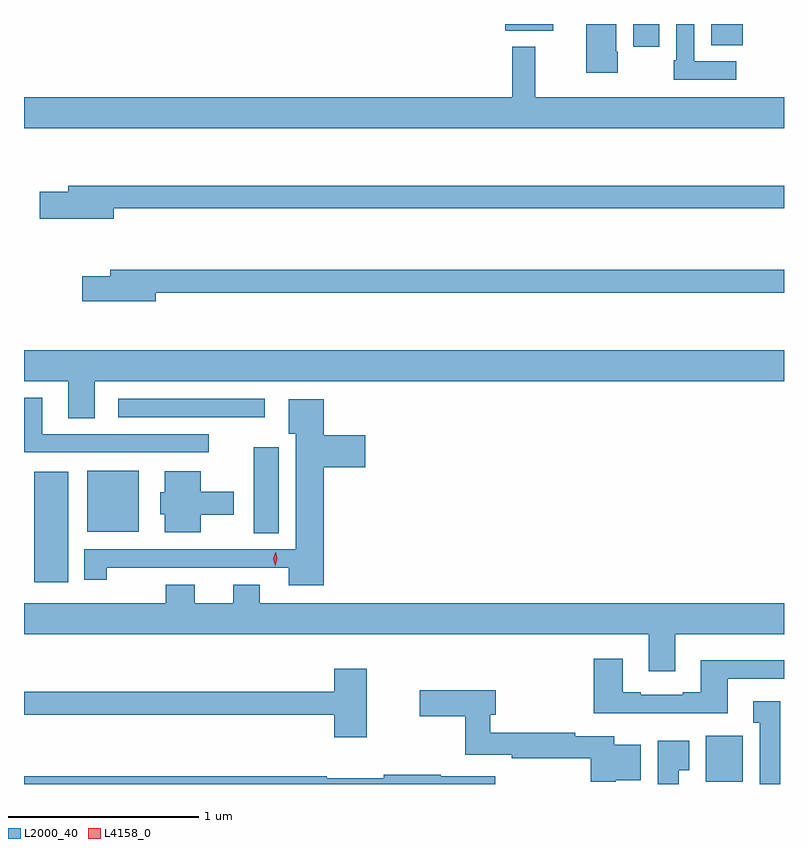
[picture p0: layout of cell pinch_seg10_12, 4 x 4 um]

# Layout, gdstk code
import gdstk
lib = gdstk.Library(unit=1e-6, precision=1e-09)
def R(c, l, rs):  # rectangles x0, y0, x1, y1
    for r in rs: c.add(gdstk.rectangle(r[:2], r[2:], *l))
def P(c, l, *ps):  # polygons
    for p in ps: c.add(gdstk.Polygon(p, *l))
L2000_40 = (2000, 40)
L4158_0 = (4158, 0)

pinch_seg10_12 = lib.new_cell('pinch_seg10_12')
R(pinch_seg10_12, L2000_40, [(1049.291,1248.926,1049.488,1249.168), (1045.757,1249.976,1045.936,1250.557), (1046.912,1250.233,1047.046,1250.686), (1046.036,1250.24,1046.308,1250.563), (1046.199,1250.844,1046.971,1250.94), (1048.91,1252.794,1049.047,1252.913), (1049.321,1252.801,1049.488,1252.913), (1048.238,1252.877,1048.489,1252.913)])
P(pinch_seg10_12, L2000_40, [(1049.452,1252.716),(1049.232,1252.716),(1049.232,1252.913),(1049.136,1252.913),(1049.136,1252.723),(1049.124,1252.723),(1049.124,1252.62),(1049.452,1252.62)],
  [(1048.83,1252.768),(1048.822,1252.768),(1048.822,1252.913),(1048.664,1252.913),(1048.664,1252.656),(1048.83,1252.656)],
  [(1049.704,1252.528),(1048.394,1252.528),(1048.394,1252.792),(1048.273,1252.792),(1048.273,1252.528),(1045.704,1252.528),(1045.704,1252.364),(1049.704,1252.364)],
  [(1046.176,1251.942),(1049.704,1251.942),(1049.704,1252.063),(1045.937,1252.063),(1045.937,1252.029),(1045.788,1252.029),(1045.788,1251.887),(1046.176,1251.887)],
  [(1046.398,1251.498),(1049.704,1251.498),(1049.704,1251.619),(1046.159,1251.619),(1046.159,1251.585),(1046.01,1251.585),(1046.01,1251.455),(1046.398,1251.455)],
  [(1046.077,1251.032),(1049.704,1251.032),(1049.704,1251.196),(1045.704,1251.196),(1045.704,1251.032),(1045.937,1251.032),(1045.937,1250.839),(1046.077,1250.839)],
  [(1046.677,1250.754),(1045.801,1250.754),(1045.801,1250.947),(1045.704,1250.947),(1045.704,1250.658),(1046.677,1250.658)],
  [(1047.281,1250.579),(1047.499,1250.579),(1047.499,1250.749),(1047.281,1250.749),(1047.281,1250.938),(1047.098,1250.938),(1047.098,1250.756),(1047.134,1250.756),(1047.134,1250.148),(1046.021,1250.148),(1046.021,1249.989),(1046.139,1249.989),(1046.139,1250.051),(1046.366,1250.051),(1046.366,1250.052),(1047.098,1250.052),(1047.098,1249.958),(1047.281,1249.958)],
  [(1046.635,1250.33),(1046.809,1250.33),(1046.809,1250.452),(1046.635,1250.452),(1046.635,1250.56),(1046.444,1250.56),(1046.444,1250.448),(1046.42,1250.448),(1046.42,1250.334),(1046.444,1250.334),(1046.444,1250.237),(1046.635,1250.237)],
  [(1049.131,1249.7),(1049.704,1249.7),(1049.704,1249.864),(1046.944,1249.864),(1046.944,1249.963),(1046.804,1249.963),(1046.804,1249.864),(1046.602,1249.864),(1046.602,1249.963),(1046.45,1249.963),(1046.45,1249.864),(1045.704,1249.864),(1045.704,1249.7),(1048.991,1249.7),(1048.991,1249.506),(1049.131,1249.506)],
  [(1049.407,1249.467),(1049.704,1249.467),(1049.704,1249.564),(1049.267,1249.564),(1049.267,1249.396),(1049.171,1249.396),(1049.171,1249.383),(1048.951,1249.383),(1048.951,1249.396),(1048.855,1249.396),(1048.855,1249.573),(1048.703,1249.573),(1048.703,1249.286),(1049.407,1249.286)],
  [(1047.508,1249.519),(1047.338,1249.519),(1047.338,1249.399),(1045.704,1249.399),(1045.704,1249.278),(1047.338,1249.278),(1047.338,1249.158),(1047.508,1249.158)],
  [(1048.818,1248.932),(1048.951,1248.932),(1048.951,1249.12),(1048.81,1249.12),(1048.81,1249.164),(1048.604,1249.164),(1048.604,1249.184),(1048.159,1249.184),(1048.159,1249.277),(1048.187,1249.277),(1048.187,1249.407),(1047.786,1249.407),(1047.786,1249.27),(1048.027,1249.27),(1048.027,1249.068),(1048.27,1249.068),(1048.27,1249.048),(1048.688,1249.048),(1048.688,1248.926),(1048.818,1248.926)],
  [(1049.683,1249.348),(1049.543,1249.348),(1049.543,1249.235),(1049.576,1249.235),(1049.576,1248.913),(1049.683,1248.913)],
  [(1049.149,1248.985),(1049.206,1248.985),(1049.206,1249.141),(1049.039,1249.141),(1049.039,1248.913),(1049.149,1248.913)],
  [(1048.183,1248.955),(1047.898,1248.955),(1047.898,1248.963),(1047.598,1248.963),(1047.598,1248.944),(1047.298,1248.944),(1047.298,1248.955),(1045.704,1248.955),(1045.704,1248.913),(1048.183,1248.913)])
P(pinch_seg10_12, L4158_0, [(1047.026,1250.063),(1047.026,1250.063),(1047.017,1250.099),(1047.028,1250.135),(1047.028,1250.135),(1047.029,1250.135),(1047.037,1250.099),(1047.026,1250.063)])

lib.write_gds('pinch_seg10_12.gds')
